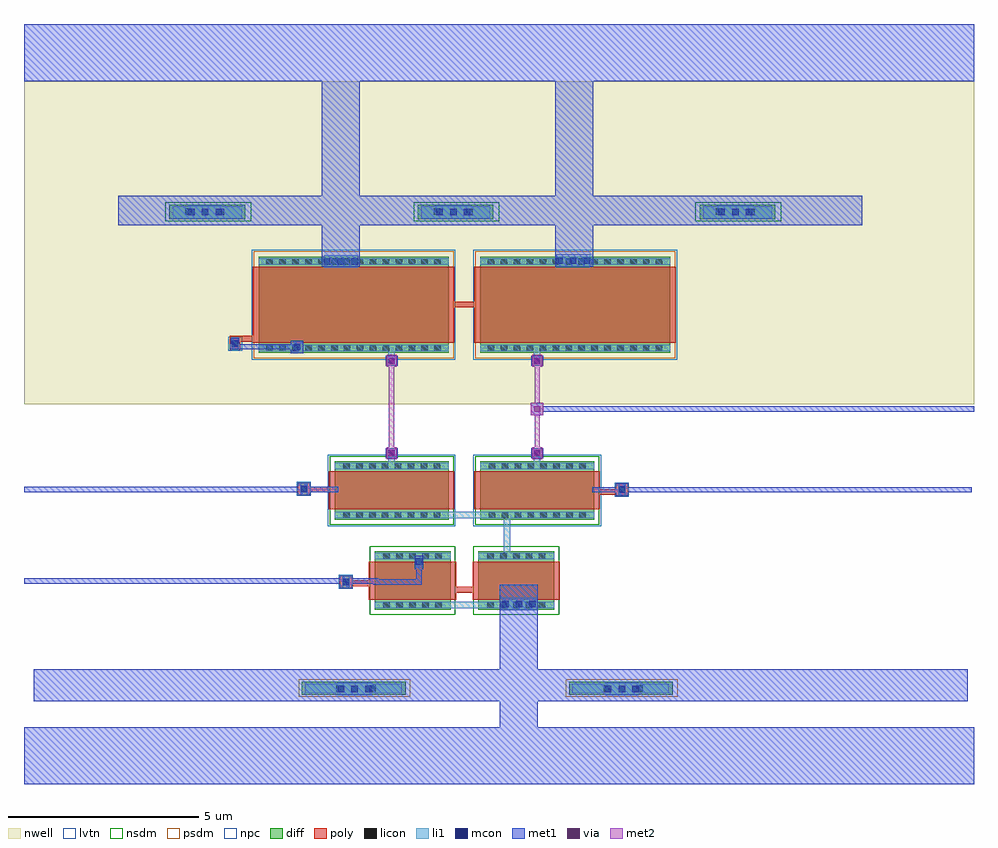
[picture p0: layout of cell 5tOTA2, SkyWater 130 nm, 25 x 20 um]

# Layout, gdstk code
from math import pi, radians
import gdstk
lib = gdstk.Library(unit=1e-6, precision=1e-09)
def R(c, l, rs):  # rectangles x0, y0, x1, y1
    for r in rs: c.add(gdstk.rectangle(r[:2], r[2:], *l))
def A(c, l, x, y, w, h, nx, ny, dx, dy):  # array of equal rectangles
    R(c, l, [(x+i*dx, y+j*dy, x+i*dx+w, y+j*dy+h) for i in range(nx) for j in range(ny)])
nwell = (64, 20)
diff = (65, 20)
poly = (66, 20)
licon = (66, 44)
li1 = (67, 20)
mcon = (67, 44)
met1 = (68, 20)
via = (68, 44)
met2 = (69, 20)
nsdm = (93, 44)
psdm = (94, 20)
npc = (95, 20)
lvtn = (125, 44)

pfet_01v8_lvt_cdns_77832 = lib.new_cell('pfet_01v8_lvt_CDNS_778327867642')
R(pfet_01v8_lvt_cdns_77832, nwell, [(-0.445,-0.18,2.445,5.18)])
R(pfet_01v8_lvt_cdns_77832, diff, [(-0.265,0,0,5), (0,0,2,5), (2,0,2.265,5)])
R(pfet_01v8_lvt_cdns_77832, poly, [(0,-0.15,2,-0.095), (0,-0.095,2,0), (0,0,2,5), (0,5,2,5.095), (0,5.095,2,5.15)])
A(pfet_01v8_lvt_cdns_77832, licon, -0.225, 0.205, 0.17, 0.17, 1, 14, 0, 0.34)
A(pfet_01v8_lvt_cdns_77832, licon, 2.055, 0.205, 0.17, 0.17, 1, 14, 0, 0.34)
R(pfet_01v8_lvt_cdns_77832, li1, [(-0.225,0,-0.055,5), (2.055,0,2.225,5)])
R(pfet_01v8_lvt_cdns_77832, psdm, [(-0.405,-0.13,2.405,5.13)])
R(pfet_01v8_lvt_cdns_77832, lvtn, [(-0.445,-0.18,2.445,5.18)])
pfet_01v8_lvt_cdns_77832.add(gdstk.Label('D_drain_1', (2.132,2.5), layer=65, texttype=20))
pfet_01v8_lvt_cdns_77832.add(gdstk.Label('S_source_0', (-0.132,2.5), layer=65, texttype=20))
pfet_01v8_lvt_cdns_77832.add(gdstk.Label('G_gate_1', (1,-0.122), layer=66, texttype=20))
pfet_01v8_lvt_cdns_77832.add(gdstk.Label('G_gate_1', (1,5.122), layer=66, texttype=20))
pfet_01v8_lvt_cdns_77832.add(gdstk.Label('D_drain_1', (2.14,2.5), layer=67, texttype=20))
pfet_01v8_lvt_cdns_77832.add(gdstk.Label('S_source_0', (-0.14,2.5), layer=67, texttype=20))
pfet_01v8_lvt_cdns_77832.add(gdstk.Label('B', (1,2.5), layer=64, texttype=20))

nfet_01v8_lvt_cdns_77832 = lib.new_cell('nfet_01v8_lvt_CDNS_778327867643')
R(nfet_01v8_lvt_cdns_77832, diff, [(-0.265,0,0,3), (0,0,1,3), (1,0,1.265,3)])
R(nfet_01v8_lvt_cdns_77832, poly, [(0,-0.15,1,-0.095), (0,-0.095,1,0), (0,0,1,3), (0,3,1,3.095), (0,3.095,1,3.15)])
A(nfet_01v8_lvt_cdns_77832, licon, -0.225, 0.225, 0.17, 0.17, 1, 8, 0, 0.34)
A(nfet_01v8_lvt_cdns_77832, licon, 1.055, 0.225, 0.17, 0.17, 1, 8, 0, 0.34)
R(nfet_01v8_lvt_cdns_77832, li1, [(-0.225,0,-0.055,3), (1.055,0,1.225,3)])
R(nfet_01v8_lvt_cdns_77832, nsdm, [(-0.405,-0.13,1.405,3.13)])
R(nfet_01v8_lvt_cdns_77832, lvtn, [(-0.445,-0.18,1.445,3.18)])
nfet_01v8_lvt_cdns_77832.add(gdstk.Label('D_drain_1', (1.132,1.5), layer=65, texttype=20))
nfet_01v8_lvt_cdns_77832.add(gdstk.Label('S_source_0', (-0.132,1.5), layer=65, texttype=20))
nfet_01v8_lvt_cdns_77832.add(gdstk.Label('G_gate_1', (0.5,-0.122), layer=66, texttype=20))
nfet_01v8_lvt_cdns_77832.add(gdstk.Label('G_gate_1', (0.5,3.122), layer=66, texttype=20))
nfet_01v8_lvt_cdns_77832.add(gdstk.Label('D_drain_1', (1.14,1.5), layer=67, texttype=20))
nfet_01v8_lvt_cdns_77832.add(gdstk.Label('S_source_0', (-0.14,1.5), layer=67, texttype=20))

nfet_01v8_cdns_778327867 = lib.new_cell('nfet_01v8_CDNS_778327867644')
R(nfet_01v8_cdns_778327867, diff, [(-0.265,0,0,2), (0,0,1,2), (1,0,1.265,2)])
R(nfet_01v8_cdns_778327867, poly, [(0,-0.15,1,-0.095), (0,-0.095,1,0), (0,0,1,2), (0,2,1,2.095), (0,2.095,1,2.15)])
A(nfet_01v8_cdns_778327867, licon, -0.225, 0.235, 0.17, 0.17, 1, 5, 0, 0.34)
A(nfet_01v8_cdns_778327867, licon, 1.055, 0.235, 0.17, 0.17, 1, 5, 0, 0.34)
R(nfet_01v8_cdns_778327867, li1, [(-0.225,0,-0.055,2), (1.055,0,1.225,2)])
R(nfet_01v8_cdns_778327867, nsdm, [(-0.405,-0.13,1.405,2.13)])
nfet_01v8_cdns_778327867.add(gdstk.Label('D_drain_1', (1.132,1), layer=65, texttype=20))
nfet_01v8_cdns_778327867.add(gdstk.Label('S_source_0', (-0.132,1), layer=65, texttype=20))
nfet_01v8_cdns_778327867.add(gdstk.Label('G_gate_1', (0.5,-0.122), layer=66, texttype=20))
nfet_01v8_cdns_778327867.add(gdstk.Label('G_gate_1', (0.5,2.122), layer=66, texttype=20))
nfet_01v8_cdns_778327867.add(gdstk.Label('D_drain_1', (1.14,1), layer=67, texttype=20))
nfet_01v8_cdns_778327867.add(gdstk.Label('S_source_0', (-0.14,1), layer=67, texttype=20))

l1m1_c_cdns_778327867649 = lib.new_cell('L1M1_C_CDNS_778327867649')
R(l1m1_c_cdns_778327867649, li1, [(-0.085,-0.085,0.085,0.085)])
R(l1m1_c_cdns_778327867649, mcon, [(-0.085,-0.085,0.085,0.085)])
R(l1m1_c_cdns_778327867649, met1, [(-0.145,-0.115,0.145,0.115)])

m1m2_c_cdns_778327867641 = lib.new_cell('M1M2_C_CDNS_7783278676410')
R(m1m2_c_cdns_778327867641, met1, [(-0.16,-0.13,0.16,0.13)])
R(m1m2_c_cdns_778327867641, via, [(-0.075,-0.075,0.075,0.075)])
R(m1m2_c_cdns_778327867641, met2, [(-0.13,-0.16,0.13,0.16)])

l1m1_c_cdns_778327867641 = lib.new_cell('L1M1_C_CDNS_7783278676411')
R(l1m1_c_cdns_778327867641, li1, [(-0.5,-0.165,0.5,0.165)])
A(l1m1_c_cdns_778327867641, mcon, -0.445, -0.085, 0.17, 0.17, 3, 1, 0.36, 0)
R(l1m1_c_cdns_778327867641, met1, [(-0.5,-0.165,0.5,0.165)])

c_l1m1_c_cdns_778327867641 = lib.new_cell('L1M1_C_CDNS_7783278676412')
R(c_l1m1_c_cdns_778327867641, li1, [(-0.445,-0.165,0.445,0.165)])
A(c_l1m1_c_cdns_778327867641, mcon, -0.445, -0.085, 0.17, 0.17, 3, 1, 0.36, 0)
R(c_l1m1_c_cdns_778327867641, met1, [(-0.475,-0.145,0.475,0.145)])

c_l1m1_c_cdns_778327867641_ = lib.new_cell('L1M1_C_CDNS_7783278676413')
R(c_l1m1_c_cdns_778327867641_, li1, [(-0.165,-0.165,0.165,0.165)])
R(c_l1m1_c_cdns_778327867641_, mcon, [(-0.085,-0.085,0.085,0.085)])
R(c_l1m1_c_cdns_778327867641_, met1, [(-0.165,-0.165,0.165,0.165)])

polyconn_cdns_7783278676 = lib.new_cell('polyConn_CDNS_778327867640')
R(polyconn_cdns_7783278676, poly, [(-0.165,-0.165,0.165,0.165)])
R(polyconn_cdns_7783278676, licon, [(-0.085,-0.085,0.085,0.085)])
R(polyconn_cdns_7783278676, li1, [(-0.085,-0.165,0.085,0.165)])
R(polyconn_cdns_7783278676, mcon, [(-0.085,-0.085,0.085,0.085)])
R(polyconn_cdns_7783278676, met1, [(-0.165,-0.165,0.165,0.165)])
R(polyconn_cdns_7783278676, npc, [(-0.185,-0.185,0.185,0.185)])

c_m1m2_c_cdns_778327867641 = lib.new_cell('M1M2_C_CDNS_7783278676414')
R(c_m1m2_c_cdns_778327867641, met1, [(-0.165,-0.165,0.165,0.165)])
R(c_m1m2_c_cdns_778327867641, via, [(-0.075,-0.075,0.075,0.075)])
R(c_m1m2_c_cdns_778327867641, met2, [(-0.165,-0.165,0.165,0.165)])

c_l1m1_c_cdns_778327867641__ = lib.new_cell('L1M1_C_CDNS_7783278676415')
R(c_l1m1_c_cdns_778327867641__, li1, [(-0.085,-0.165,0.085,0.165)])
R(c_l1m1_c_cdns_778327867641__, mcon, [(-0.085,-0.085,0.085,0.085)])
R(c_l1m1_c_cdns_778327867641__, met1, [(-0.115,-0.145,0.115,0.145)])

c_polyconn_cdns_7783278676 = lib.new_cell('polyConn_CDNS_778327867641')
R(c_polyconn_cdns_7783278676, poly, [(-0.135,-0.165,0.135,0.165)])
R(c_polyconn_cdns_7783278676, licon, [(-0.085,-0.085,0.085,0.085)])
R(c_polyconn_cdns_7783278676, li1, [(-0.085,-0.165,0.085,0.165)])
R(c_polyconn_cdns_7783278676, mcon, [(-0.085,-0.085,0.085,0.085)])
R(c_polyconn_cdns_7783278676, met1, [(-0.115,-0.145,0.115,0.145)])
R(c_polyconn_cdns_7783278676, npc, [(-0.185,-0.185,0.185,0.185)])

c_5tota2 = lib.new_cell('5tOTA2')
R(c_5tota2, nwell, [(-0.05,10.025,24.95,18.525)])
R(c_5tota2, diff, [(7.26,2.375,9.99,2.71), (14.295,2.375,17.025,2.71), (3.775,14.89,5.77,15.265), (10.31,14.89,12.305,15.265), (17.73,14.89,19.725,15.265)])
R(c_5tota2, licon, [(8.165,2.45,8.335,2.62), (15.2,2.45,15.37,2.62), (9.03,2.455,9.2,2.625), (16.065,2.455,16.235,2.625), (5.05,14.995,5.22,15.165), (11.585,14.995,11.755,15.165), (19.005,14.995,19.175,15.165), (4.195,15.005,4.365,15.175), (10.73,15.005,10.9,15.175), (18.15,15.005,18.32,15.175)])
R(c_5tota2, li1, [(7.345,2.415,9.885,2.665), (14.38,2.415,16.92,2.665), (3.87,14.905,5.69,15.235), (10.405,14.905,12.225,15.235), (17.825,14.905,19.645,15.235)])
R(c_5tota2, met1, [(-0.05,0.025,24.95,1.525), (0.21,2.2,24.785,3.045), (2.425,14.725,22.005,15.51), (-0.05,18.525,24.95,20.025)])
R(c_5tota2, nsdm, [(3.665,14.83,5.925,15.34), (10.2,14.83,12.46,15.34), (17.62,14.83,19.88,15.34)])
R(c_5tota2, psdm, [(7.175,2.325,10.12,2.785), (14.21,2.325,17.155,2.785)])
c_5tota2.add(gdstk.FlexPath([(7.71,7.775),(7.71,7.79)], 0.15, ends=(0.075, 0), simple_path=True, layer=66, datatype=20))  # poly
c_5tota2.add(gdstk.FlexPath([(8,7.775),(7.71,7.775)], 0.15, ends=(0.077, 0.075), simple_path=True, layer=66, datatype=20))  # poly
c_5tota2.add(gdstk.FlexPath([(9.05,5.31),(8.42,5.31)], 0.15, ends=(0.077, 0.075), simple_path=True, layer=66, datatype=20))  # poly
c_5tota2.add(gdstk.FlexPath([(8.42,5.31),(8.42,5.345)], 0.15, ends=(0.075, 0), simple_path=True, layer=66, datatype=20))  # poly
c_5tota2.add(gdstk.FlexPath([(7.315,7.775),(7.315,7.79)], 0.15, ends=(0.075, 0), simple_path=True, layer=66, datatype=20))  # poly
c_5tota2.add(gdstk.FlexPath([(7.71,7.775),(7.315,7.775)], 0.15, ends="extended", simple_path=True, layer=66, datatype=20))  # poly
c_5tota2.add(gdstk.FlexPath([(15.075,7.71),(15.685,7.71)], 0.15, ends=(0.073, 0.075), simple_path=True, layer=66, datatype=20))  # poly
c_5tota2.add(gdstk.FlexPath([(15.685,7.71),(15.685,7.77)], 0.15, ends=(0.075, 0), simple_path=True, layer=66, datatype=20))  # poly
c_5tota2.add(gdstk.FlexPath([(6,11.74),(5.365,11.74)], 0.15, ends=(0.077, 0), simple_path=True, layer=66, datatype=20))  # poly
c_5tota2.add(gdstk.FlexPath([(11.27,5.135),(11.81,5.135)], 0.15, ends="flush", simple_path=True, layer=66, datatype=20))  # poly
c_5tota2.add(gdstk.FlexPath([(11.86,12.64),(11.22,12.64)], 0.15, ends="flush", simple_path=True, layer=66, datatype=20))  # poly
c_5tota2.add(gdstk.FlexPath([(11.99,4.74),(11.99,4.825)], 0.17, ends=(0.085, 0), simple_path=True, layer=67, datatype=20))  # li1
c_5tota2.add(gdstk.FlexPath([(11.175,4.74),(11.99,4.74)], 0.17, ends=(0, 0.085), simple_path=True, layer=67, datatype=20))  # li1
c_5tota2.add(gdstk.FlexPath([(12.665,7.11),(12.665,5.935)], 0.17, ends=(0.085, 0), simple_path=True, layer=67, datatype=20))  # li1
c_5tota2.add(gdstk.FlexPath([(13.455,11.16),(13.455,11.5)], 0.17, ends="extended", simple_path=True, layer=67, datatype=20))  # li1
c_5tota2.add(gdstk.FlexPath([(13.455,8.39),(13.455,8.73)], 0.17, ends="extended", simple_path=True, layer=67, datatype=20))  # li1
c_5tota2.add(gdstk.FlexPath([(9.625,11.16),(9.625,11.5)], 0.17, ends="extended", simple_path=True, layer=67, datatype=20))  # li1
c_5tota2.add(gdstk.FlexPath([(9.625,8.39),(9.625,8.73)], 0.17, ends="extended", simple_path=True, layer=67, datatype=20))  # li1
c_5tota2.add(gdstk.FlexPath([(14.87,7.11),(8.21,7.11)], 0.17, ends="extended", simple_path=True, layer=67, datatype=20))  # li1
c_5tota2.add(gdstk.FlexPath([(13.455,8.73),(13.455,11.16)], 0.14, ends="flush", simple_path=True, layer=69, datatype=20))  # met2
c_5tota2.add(gdstk.FlexPath([(9.625,8.73),(9.625,11.16)], 0.14, ends=(0.16, 0.16), simple_path=True, layer=69, datatype=20))  # met2
c_5tota2.add(gdstk.FlexPath([(8.29,19.53),(8.29,13.78)], 1, ends=(0, 0.145), simple_path=True, layer=68, datatype=20))  # met1
c_5tota2.add(gdstk.FlexPath([(10.345,5.34),(9.215,5.34)], 0.14, ends="extended", simple_path=True, layer=68, datatype=20))  # met1
c_5tota2.add(gdstk.FlexPath([(10.345,5.885),(10.345,5.34)], 0.14, ends=(0, 0.07), simple_path=True, layer=68, datatype=20))  # met1
c_5tota2.add(gdstk.FlexPath([(13.465,9.89),(13.465,9.85)], 0.14, ends="extended", simple_path=True, layer=68, datatype=20))  # met1
c_5tota2.add(gdstk.FlexPath([(9.215,5.37),(-0.05,5.37)], 0.14, ends=(0.07, 0), simple_path=True, layer=68, datatype=20))  # met1
c_5tota2.add(gdstk.FlexPath([(14.9,7.77),(24.89,7.77)], 0.14, ends="flush", simple_path=True, layer=68, datatype=20))  # met1
c_5tota2.add(gdstk.FlexPath([(8.215,7.775),(-0.05,7.775)], 0.14, ends="flush", simple_path=True, layer=68, datatype=20))  # met1
c_5tota2.add(gdstk.FlexPath([(24.95,9.89),(13.465,9.89)], 0.14, ends=(0, 0.07), simple_path=True, layer=68, datatype=20))  # met1
c_5tota2.add(gdstk.FlexPath([(5.43,11.53),(7.14,11.53)], 0.14, ends=(0.07, 0), simple_path=True, layer=68, datatype=20))  # met1
c_5tota2.add(gdstk.FlexPath([(10.345,5.885),(10.345,5.74)], 0.23, ends=(0, 0.07), simple_path=True, layer=68, datatype=20))  # met1
c_5tota2.add(gdstk.FlexPath([(12.975,0.06),(12.975,5.27)], 1, ends="flush", simple_path=True, layer=68, datatype=20))  # met1
c_5tota2.add(gdstk.FlexPath([(9.215,5.34),(9.215,5.37)], 0.14, ends="extended", simple_path=True, layer=68, datatype=20))  # met1
c_5tota2.add(gdstk.FlexPath([(14.43,19.53),(14.43,13.78)], 1, ends=(0, 0.145), simple_path=True, layer=68, datatype=20))  # met1
c_5tota2.add(gdstk.FlexPath([(5.43,11.565),(5.43,11.53)], 0.14, ends=(0, 0.07), simple_path=True, layer=68, datatype=20))  # met1
c_5tota2.add(gdstk.Reference(pfet_01v8_lvt_cdns_77832, (11.955,13.64), rotation=3*pi/2))
c_5tota2.add(gdstk.Reference(pfet_01v8_lvt_cdns_77832, (11.125,13.64), rotation=3*pi/2, x_reflection=True))
c_5tota2.add(gdstk.Reference(nfet_01v8_lvt_cdns_77832, (14.955,7.25), rotation=pi/2))
c_5tota2.add(gdstk.Reference(nfet_01v8_lvt_cdns_77832, (11.125,7.25), rotation=pi/2))
c_5tota2.add(gdstk.Reference(nfet_01v8_cdns_778327867, (11.175,4.88), rotation=pi/2))
c_5tota2.add(gdstk.Reference(nfet_01v8_cdns_778327867, (13.905,4.88), rotation=pi/2))
c_5tota2.add(gdstk.Reference(l1m1_c_cdns_778327867649, (13.455,11.16)))
c_5tota2.add(gdstk.Reference(l1m1_c_cdns_778327867649, (13.455,8.73)))
c_5tota2.add(gdstk.Reference(l1m1_c_cdns_778327867649, (9.625,11.16)))
c_5tota2.add(gdstk.Reference(l1m1_c_cdns_778327867649, (9.625,8.73)))
c_5tota2.add(gdstk.Reference(m1m2_c_cdns_778327867641, (13.455,11.16)))
c_5tota2.add(gdstk.Reference(m1m2_c_cdns_778327867641, (13.455,8.73)))
c_5tota2.add(gdstk.Reference(m1m2_c_cdns_778327867641, (9.625,11.16)))
c_5tota2.add(gdstk.Reference(m1m2_c_cdns_778327867641, (9.625,8.73)))
c_5tota2.add(gdstk.Reference(l1m1_c_cdns_778327867641, (12.975,4.76)))
c_5tota2.add(gdstk.Reference(c_l1m1_c_cdns_778327867641, (18.67,15.075)))
c_5tota2.add(gdstk.Reference(c_l1m1_c_cdns_778327867641, (8.65,2.53)))
c_5tota2.add(gdstk.Reference(c_l1m1_c_cdns_778327867641, (15.685,2.53)))
c_5tota2.add(gdstk.Reference(c_l1m1_c_cdns_778327867641, (14.4,13.795)))
c_5tota2.add(gdstk.Reference(c_l1m1_c_cdns_778327867641, (8.29,13.78)))
c_5tota2.add(gdstk.Reference(c_l1m1_c_cdns_778327867641, (4.715,15.075)))
c_5tota2.add(gdstk.Reference(c_l1m1_c_cdns_778327867641, (11.25,15.075)))
c_5tota2.add(gdstk.Reference(c_l1m1_c_cdns_778327867641_, (7.14,11.53)))
c_5tota2.add(gdstk.Reference(polyconn_cdns_7783278676, (8.42,5.345)))
c_5tota2.add(gdstk.Reference(polyconn_cdns_7783278676, (15.685,7.77)))
c_5tota2.add(gdstk.Reference(polyconn_cdns_7783278676, (7.315,7.79)))
c_5tota2.add(gdstk.Reference(c_m1m2_c_cdns_778327867641, (13.455,9.895)))
c_5tota2.add(gdstk.Reference(c_l1m1_c_cdns_778327867641__, (10.345,5.885)))
c_5tota2.add(gdstk.Reference(c_polyconn_cdns_7783278676, (5.505,11.615)))

lib.write_gds('5tOTA2.gds')
